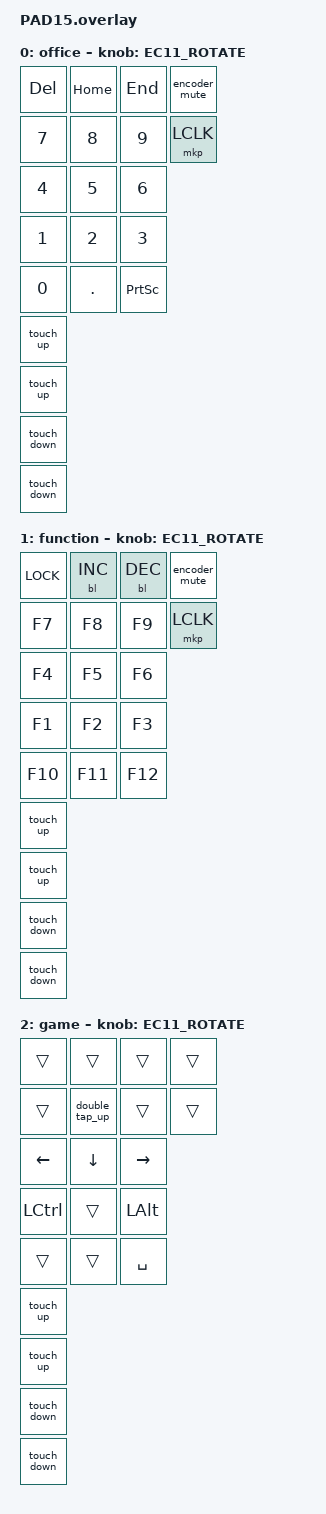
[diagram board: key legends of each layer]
#include <behaviors.dtsi>
#include <dt-bindings/zmk/backlight.h>
#include <dt-bindings/zmk/keys.h>
#include <dt-bindings/zmk/pointing.h>

/ {
    combos {
        compatible = "zmk,combos";

        change_layer {
            bindings = <&to 0>;
            key-positions = <14 16>;
            layers = <2>;
        };

        change_layer1 {
            bindings = <&to 1>;
            key-positions = <14 16>;
            layers = <0>;
        };

        change_layer2 {
            bindings = <&to 2>;
            key-positions = <14 16>;
            layers = <1>;
        };
    };

    behaviors {
        EC11_ROTATE: EC11_ROTATE {
            compatible = "zmk,behavior-sensor-rotate";
            label = "EC11_ROTATE";
            #sensor-binding-cells = <0>;
            bindings = <&kp C_VOLUME_UP>, <&kp C_VOL_DN>;
        };

        double_tap_up: double_tap_up {
            compatible = "zmk,behavior-tap-dance";
            label = "DOUBLE_TAP_UP";
            #binding-cells = <0>;
            bindings = <&kp UP>, <&kp LS(UP)>;
        };

        encoder_mute: encoder_mute {
            compatible = "zmk,behavior-hold-tap";
            label = "ENCODER_MUTE";
            #binding-cells = <0>;
            tap-time = <200>;
            bindings = <&kp C_MUTE>, <&trans>;
        };

        /* 上边两个触摸键：轻触=小滚向上，长按=翻页向上 */
        touch_up: touch_up {
            compatible = "zmk,behavior-hold-tap";
            label = "TOUCH_UP";
            #binding-cells = <0>;
            tap-time = <180>;          // 可自行调整（更短=更容易触发轻触）
            bindings = <&msc SCRL_UP>, <&kp PG_UP>;
        };

        /* 下边两个触摸键：轻触=小滚向下，长按=翻页向下 */
        touch_down: touch_down {
            compatible = "zmk,behavior-hold-tap";
            label = "TOUCH_DOWN";
            #binding-cells = <0>;
            tap-time = <180>;
            bindings = <&msc SCRL_DN>, <&kp PG_DN>;
        };
    };

    keymap {
        compatible = "zmk,keymap";

        office {
            sensor-bindings = <&EC11_ROTATE>;
            bindings = <
                &kp DEL       &kp HOME      &kp END          &encoder_mute
                &kp NUMBER_7  &kp NUMBER_8  &kp NUMBER_9     &mkp LCLK
                &kp NUMBER_4  &kp NUMBER_5  &kp NUMBER_6
                &kp NUMBER_1  &kp NUMBER_2  &kp NUMBER_3
                &kp NUMBER_0  &kp DOT       &kp PRINTSCREEN

                &touch_up     /* P0.17 */
                &touch_up     /* P0.20 */
                &touch_down   /* P0.22 */
                &touch_down   /* P0.24 */
            >;
        };

        function {
            sensor-bindings = <&EC11_ROTATE>;
            bindings = <
                &kp K_LOCK  &bl BL_INC  &bl BL_DEC  &encoder_mute
                &kp F7      &kp F8      &kp F9      &mkp LCLK
                &kp F4      &kp F5      &kp F6
                &kp F1      &kp F2      &kp F3
                &kp F10     &kp F11     &kp F12

                &touch_up
                &touch_up
                &touch_down
                &touch_down
            >;
        };

        game {
            sensor-bindings = <&EC11_ROTATE>;
            bindings = <
                &trans     &trans          &trans     &trans
                &trans     &double_tap_up  &trans     &trans
                &kp LEFT   &kp DOWN        &kp RIGHT
                &kp LCTRL  &trans          &kp LALT
                &trans     &trans          &kp SPACE

                &touch_up
                &touch_up
                &touch_down
                &touch_down
            >;
        };
    };
};
